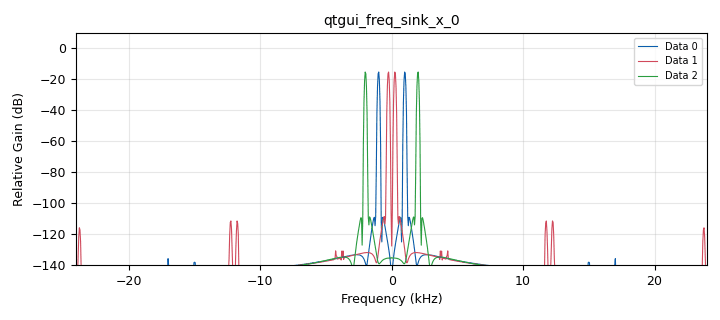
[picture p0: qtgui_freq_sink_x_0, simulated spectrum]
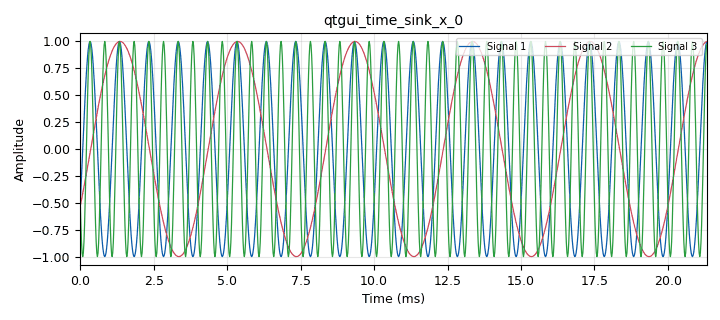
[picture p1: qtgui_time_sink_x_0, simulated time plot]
options:
  parameters:
    author: Alfonso sanchez y Sergio Angarita
    copyright: '2022'
    description: 'Segundo punto '
    generate_options: qt_gui
    id: Practica_1_2
    output_language: python
    title: Practica_1_2
  states: {}

blocks:
- name: samp_rate
  id: variable
  parameters:
    value: '48000'
  states: {}
- name: analog_sig_source_x_0
  id: analog_sig_source_x
  parameters:
    amp: '1'
    freq: '1000'
    offset: '0'
    phase: '0'
    samp_rate: samp_rate
    type: float
    waveform: analog.GR_COS_WAVE
  states: {}
- name: analog_sig_source_x_0_0
  id: analog_sig_source_x
  parameters:
    amp: '1'
    freq: '1000'
    offset: '0'
    phase: '0'
    samp_rate: samp_rate
    type: float
    waveform: analog.GR_COS_WAVE
  states: {}
- name: analog_sig_source_x_0_1
  id: analog_sig_source_x
  parameters:
    amp: '1'
    freq: '1000'
    offset: '0'
    phase: '0'
    samp_rate: samp_rate
    type: float
    waveform: analog.GR_COS_WAVE
  states: {}
- name: blocks_throttle_0
  id: blocks_throttle
  parameters:
    samples_per_second: samp_rate
    type: float
  states: {}
- name: qtgui_freq_sink_x_0
  id: qtgui_freq_sink_x
  parameters:
    bw: samp_rate
    fc: '0'
    fftsize: '1024'
    nconnections: '3'
    type: float
  states: {}
- name: qtgui_time_sink_x_0
  id: qtgui_time_sink_x
  parameters:
    nconnections: '3'
    size: '1024'
    srate: samp_rate
    type: float
  states: {}
- name: rational_resampler_xxx_0
  id: rational_resampler_xxx
  parameters:
    decim: '2'
    interp: '1'
    type: fff
  states: {}
- name: rational_resampler_xxx_0_0
  id: rational_resampler_xxx
  parameters:
    decim: '1'
    interp: '1'
    type: fff
  states: {}
- name: rational_resampler_xxx_0_1
  id: rational_resampler_xxx
  parameters:
    decim: '1'
    interp: '4'
    type: fff
  states: {}

connections:
- [analog_sig_source_x_0, '0', rational_resampler_xxx_0_0, '0']
- [analog_sig_source_x_0_0, '0', rational_resampler_xxx_0, '0']
- [analog_sig_source_x_0_1, '0', rational_resampler_xxx_0_1, '0']
- [blocks_throttle_0, '0', qtgui_freq_sink_x_0, '0']
- [blocks_throttle_0, '0', qtgui_time_sink_x_0, '0']
- [rational_resampler_xxx_0, '0', qtgui_freq_sink_x_0, '2']
- [rational_resampler_xxx_0, '0', qtgui_time_sink_x_0, '2']
- [rational_resampler_xxx_0_0, '0', blocks_throttle_0, '0']
- [rational_resampler_xxx_0_1, '0', qtgui_freq_sink_x_0, '1']
- [rational_resampler_xxx_0_1, '0', qtgui_time_sink_x_0, '1']

metadata:
  file_format: 1
